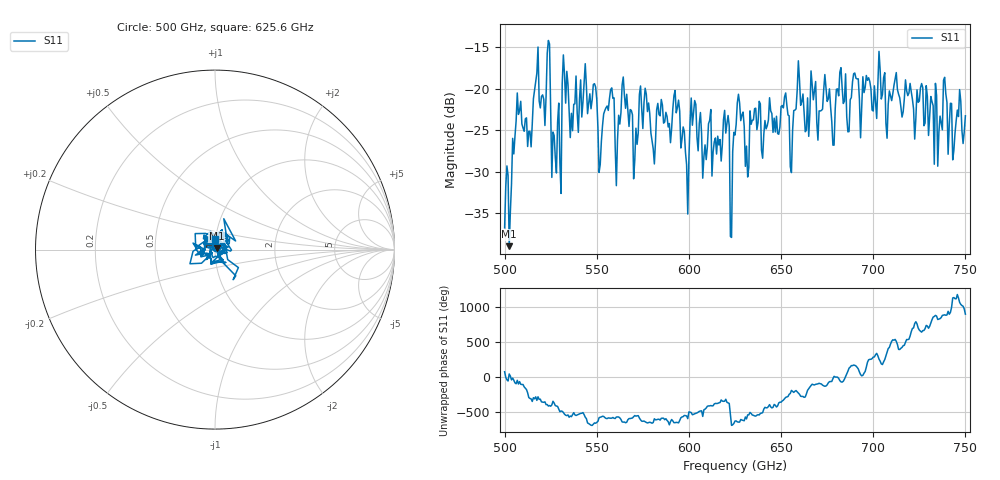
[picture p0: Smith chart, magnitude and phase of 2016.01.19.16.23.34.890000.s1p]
!Created with skrf (http://scikit-rf.org).
# GHz S RI R 50.0
!freq ReS11 ImS11
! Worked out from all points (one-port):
!   401 points, 500 GHz to 750 GHz, reference 50 ohm
!   lowest |S11| = -39.0 dB at 502.5 GHz (marker M1), VSWR 1.02, Z = 50.8 + j0.76 ohm
!   |S11| at or under -10 dB: start of sweep to end of sweep
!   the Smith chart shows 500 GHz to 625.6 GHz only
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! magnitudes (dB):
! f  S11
! 500 GHz  -36.8
! 502.5 GHz  -39.0
! 507.5 GHz  -23.1
! 513.8 GHz  -25.1
! 516.9 GHz  -19.1
! 523.8 GHz  -14.2
! 526.9 GHz  -25.6
! 531.2 GHz  -19.4
! 533.1 GHz  -21.7
! 536.2 GHz  -23.0
! 548.8 GHz  -19.4
! 551.9 GHz  -29.1
! 562.5 GHz  -24.2
! 571.2 GHz  -24.7
! 576.9 GHz  -20.6
! 580.6 GHz  -27.2
! 593.8 GHz  -22.2
! 598.8 GHz  -29.2
! 602.5 GHz  -22.9
! 608.8 GHz  -26.8
! 620.6 GHz  -24.2
! 623.8 GHz  -27.5
! 625 GHz  -25.6
! 656.2 GHz  -25.0
! 660 GHz  -19.0
! 687.5 GHz  -21.3
! 718.8 GHz  -20.8
! 750 GHz  -23.3
